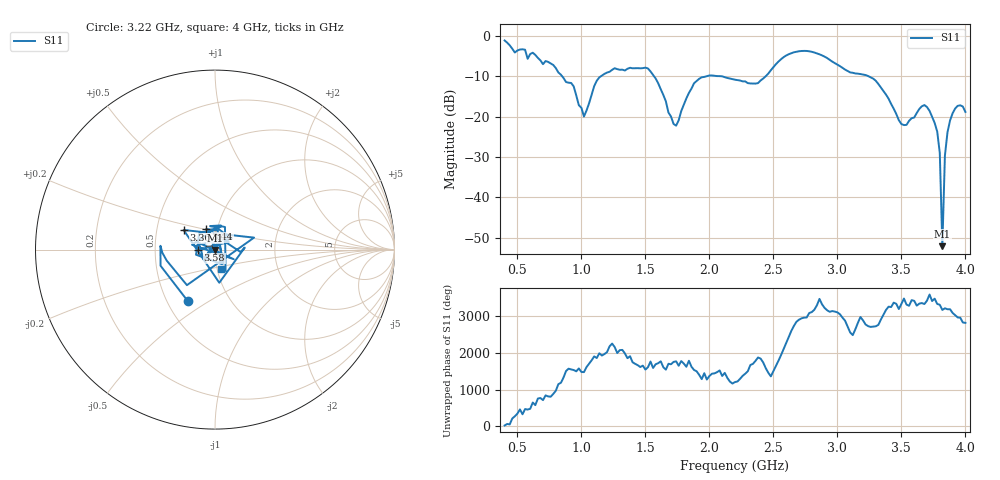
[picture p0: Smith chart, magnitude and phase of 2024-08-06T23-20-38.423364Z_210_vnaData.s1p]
!Created with skrf (http://scikit-rf.org).
# Hz S RI R 50.0
!freq ReS11 ImS11
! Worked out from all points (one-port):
!   181 points, 400 MHz to 4 GHz, reference 50 ohm
!   lowest |S11| = -52.1 dB at 3.82 GHz (marker M1), VSWR 1.01, Z = 50 - j0.249 ohm
!   |S11| at or under -10 dB: 1.566 GHz to 1.984 GHz (417.7 MHz wide, 23.5 % of centre); 2.059 GHz to 2.441 GHz (382.9 MHz wide, 17 % of centre); 3.24 GHz to end of sweep (the widest 3 of 4)
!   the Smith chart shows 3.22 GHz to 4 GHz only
!   S11 on the Smith chart (normalised r, x): 3.22 GHz: 0.64, -0.41; 3.36 GHz: 0.69, +0.16; 3.44 GHz: 0.88, +0.21; 3.58 GHz: 0.83, -0.00; 4 GHz: 1.04, -0.23
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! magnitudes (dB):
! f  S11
! 400 MHz  -1.2
! 860 MHz  -10.5
! 940 MHz  -12.6
! 1.02 GHz  -20.0
! 1.14 GHz  -10.3
! 1.3 GHz  -8.4
! 1.52 GHz  -8.1
! 1.72 GHz  -21.8
! 1.76 GHz  -20.9
! 1.92 GHz  -10.7
! 2.2 GHz  -10.9
! 2.38 GHz  -11.7
! 2.66 GHz  -4.1
! 3.1 GHz  -9.1
! 3.22 GHz  -9.8
! 3.36 GHz  -13.7
! 3.44 GHz  -18.1
! 3.5 GHz  -21.9
! 3.56 GHz  -21.1
! 3.58 GHz  -20.4
! 3.68 GHz  -17.2
! 3.78 GHz  -23.7
! 3.8 GHz  -29.1
! 3.82 GHz  -52.1
! 3.84 GHz  -29.7
! 3.86 GHz  -23.9
! 3.92 GHz  -18.0
! 4 GHz  -18.9
